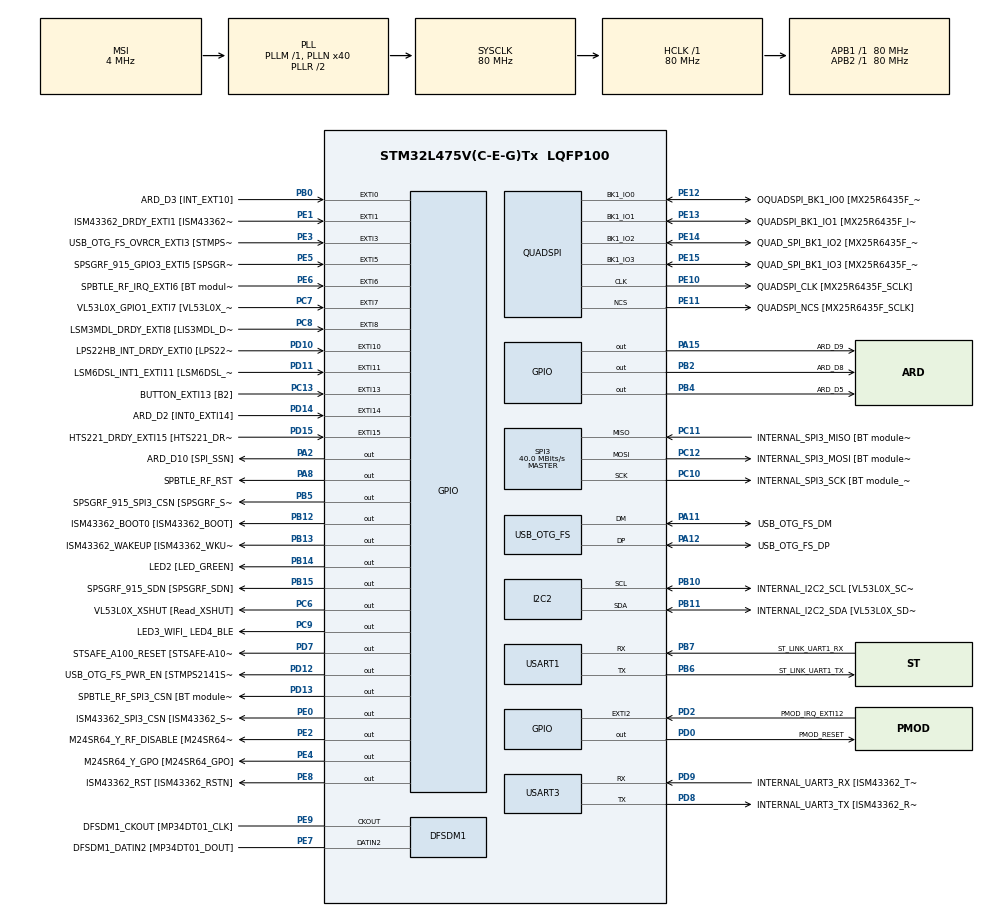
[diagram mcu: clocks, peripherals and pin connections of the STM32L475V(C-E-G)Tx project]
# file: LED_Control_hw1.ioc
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FREERTOS.BinarySemaphores01=button,Dynamic,NULL,Depleted;timer,Dynamic,NULL,Depleted
FREERTOS.Mutexes01=ledMutex,Dynamic,NULL,Available
FREERTOS.Queues01=buttonTime,16,uint16_t,0,Dynamic,NULL,NULL
FREERTOS.Tasks01=Task_1,24,128,StartTask_1,Default,NULL,Dynamic,NULL,NULL;Task_2,24,128,StartTask_2,Default,NULL,Dynamic,NULL,NULL
I2C2.Timing=0x10D19CE4
Mcu.Family=STM32L4
Mcu.Name=STM32L475V(C-E-G)Tx
Mcu.Package=LQFP100
NVIC.EXTI15_10_IRQn=true\:5\:0\:false\:false\:true\:true\:true\:true\:true
NVIC.EXTI9_5_IRQn=true\:5\:0\:false\:false\:true\:true\:true\:true\:true
NVIC.PriorityGroup=NVIC_PRIORITYGROUP_4
NVIC.TIM2_IRQn=true\:5\:0\:false\:false\:true\:true\:true\:true\:true
NVIC.TIM6_DAC_IRQn=true\:15\:0\:false\:false\:true\:false\:false\:true\:true
NVIC.TimeBase=TIM6_DAC_IRQn
NVIC.TimeBaseIP=TIM6
PA0.GPIO_Label=ARD_D1 [UART4_TX]
PA0.Signal=UART4_TX
PA1.GPIO_Label=ARD_D0 [UART4_RX]
PA1.Signal=UART4_RX
PA10.GPIO_Label=USB_OTG_FS_ID
PA10.Signal=USB_OTG_FS_ID
PA11.GPIO_Label=USB_OTG_FS_DM
PA11.Mode=Device_Only
PA11.Signal=USB_OTG_FS_DM
PA12.GPIO_Label=USB_OTG_FS_DP
PA12.Mode=Device_Only
PA12.Signal=USB_OTG_FS_DP
PA13\ (JTMS-SWDIO).GPIO_Label=SYS_JTMS_SWDIO
PA13\ (JTMS-SWDIO).Mode=Serial_Wire
PA13\ (JTMS-SWDIO).Signal=SYS_JTMS-SWDIO
PA14\ (JTCK-SWCLK).GPIO_Label=SYS_JTCK_SWCLK
PA14\ (JTCK-SWCLK).Mode=Serial_Wire
PA14\ (JTCK-SWCLK).Signal=SYS_JTCK-SWCLK
PA15\ (JTDI).GPIO_Label=ARD_D9
PA15\ (JTDI).Signal=GPIO_Output
PA2.GPIO_Label=ARD_D10 [SPI_SSN]
PA2.Signal=GPIO_Output
PA3.GPIO_Label=ARD_D4
PA3.Signal=S_TIM2_CH4
PA4.GPIO_Label=ARD_D7
PA4.Signal=ADCx_IN9
PA5.GPIO_Label=ARD_D13 [SPI1_SCK]
PA5.Signal=SPI1_SCK
PA6.GPIO_Label=ARD_D12 [SPI1_MISO]
PA6.Signal=SPI1_MISO
PA7.GPIO_Label=ARD_D11 [SPI1_MOSI]
PA7.Signal=SPI1_MOSI
PA8.GPIO_Label=SPBTLE_RF_RST
PA8.Signal=GPIO_Output
PA9.GPIO_Label=USB_OTG_FS_VBUS [STMPS2141STR_OUT]
PA9.Signal=USB_OTG_FS_VBUS
PB0.GPIO_Label=ARD_D3 [INT_EXT10]
PB0.Signal=GPXTI0
PB1.GPIO_Label=ARD_D6 [ADC1_IN6]
PB1.Signal=ADCx_IN16
PB10.GPIO_Label=INTERNAL_I2C2_SCL [VL53L0X_SCL]
PB10.GPIO_Pu=GPIO_PULLUP
PB10.Mode=I2C
PB10.Signal=I2C2_SCL
PB11.GPIO_Label=INTERNAL_I2C2_SDA [VL53L0X_SDA]
PB11.GPIO_Pu=GPIO_PULLUP
PB11.Mode=I2C
PB11.Signal=I2C2_SDA
PB12.GPIO_Label=ISM43362_BOOT0 [ISM43362_BOOT]
PB12.Signal=GPIO_Output
PB13.GPIO_Label=ISM43362_WAKEUP [ISM43362_WKUP]
PB13.Signal=GPIO_Output
PB14.GPIO_Label=LED2 [LED_GREEN]
PB14.Signal=GPIO_Output
PB15.GPIO_Label=SPSGRF_915_SDN [SPSGRF_SDN]
PB15.Signal=GPIO_Output
PB2.GPIO_Label=ARD_D8
PB2.Signal=GPIO_Output
PB3\ (JTDO-TRACESWO).GPIO_Label=SYS_JTD0_SWO
PB3\ (JTDO-TRACESWO).Signal=SYS_JTDO-SWO
PB4\ (NJTRST).GPIO_Label=ARD_D5
PB4\ (NJTRST).Signal=GPIO_Output
PB5.GPIO_Label=SPSGRF_915_SPI3_CSN [SPSGRF_SPI_CS]
PB5.PinState=GPIO_PIN_SET
PB5.Signal=GPIO_Output
PB6.GPIO_Label=ST_LINK_UART1_TX
PB6.Mode=Asynchronous
PB6.Signal=USART1_TX
PB7.GPIO_Label=ST_LINK_UART1_RX
PB7.Mode=Asynchronous
PB7.Signal=USART1_RX
PB8.GPIO_Label=ARD_D15 [I2C1_SCL]
PB8.Signal=I2C1_SCL
PB9.GPIO_Label=ARD_D14 [I2C1_SDA]
PB9.Signal=I2C1_SDA
PC0.GPIO_Label=ARD_A5 [ADC]
PC0.Signal=ADCx_IN1
PC1.GPIO_Label=ARD_A4 [ADC]
PC1.Signal=ADCx_IN2
PC10.GPIO_Label=INTERNAL_SPI3_SCK [BT module_SPI_SCLK] [ISM43362_SCK]
PC10.Mode=Full_Duplex_Master
PC10.Signal=SPI3_SCK
PC11.GPIO_Label=INTERNAL_SPI3_MISO [BT module_SPI_MISO] [ISM43362_MISO]
PC11.Mode=Full_Duplex_Master
PC11.Signal=SPI3_MISO
PC12.GPIO_Label=INTERNAL_SPI3_MOSI [BT module_SPI_MOSI] [ISM43362_MOSI]
PC12.Mode=Full_Duplex_Master
PC12.Signal=SPI3_MOSI
PC13.GPIO_Label=BUTTON_EXTI13 [B2]
PC13.GPIO_ModeDefaultEXTI=GPIO_MODE_IT_RISING_FALLING
PC13.Signal=GPXTI13
PC14-OSC32_IN\ (PC14).Mode=LSE-External-Oscillator
PC14-OSC32_IN\ (PC14).Signal=RCC_OSC32_IN
PC15-OSC32_OUT\ (PC15).Mode=LSE-External-Oscillator
PC15-OSC32_OUT\ (PC15).Signal=RCC_OSC32_OUT
PC2.GPIO_Label=ARD_A3 [ADC]
PC2.Signal=ADCx_IN3
PC3.GPIO_Label=ARD_A2 [ADC]
PC3.Signal=ADCx_IN4
PC4.GPIO_Label=ARD_A1 [ADC]
PC4.Signal=ADCx_IN13
PC5.GPIO_Label=ARD_A0 [ADC]
PC5.Signal=ADCx_IN14
PC6.GPIO_Label=VL53L0X_XSHUT [Read_XSHUT]
PC6.Signal=GPIO_Output
PC7.GPIO_Label=VL53L0X_GPIO1_EXTI7 [VL53L0X_GPIO1]
PC7.Signal=GPXTI7
PC8.GPIO_Label=LSM3MDL_DRDY_EXTI8 [LIS3MDL_DRDY]
PC8.Signal=GPXTI8
PC9.GPIO_Label=LED3_WIFI_ LED4_BLE
PC9.Signal=GPIO_Output
PD0.GPIO_Label=PMOD_RESET
PD0.Signal=GPIO_Output
PD1.GPIO_Label=PMOD_SPI2_SCK
PD1.Signal=SPI2_SCK
PD10.GPIO_Label=LPS22HB_INT_DRDY_EXTI0 [LPS22HB_INT_DRDY] 
PD10.Signal=GPXTI10
PD11.GPIO_Label=LSM6DSL_INT1_EXTI11 [LSM6DSL_INT1]
PD11.Signal=GPXTI11
PD12.GPIO_Label=USB_OTG_FS_PWR_EN [STMPS2141STR_EN]
PD12.Signal=GPIO_Output
PD13.GPIO_Label=SPBTLE_RF_SPI3_CSN [BT module_SPI_CS]
PD13.PinState=GPIO_PIN_SET
PD13.Signal=GPIO_Output
PD14.GPIO_Label=ARD_D2 [INT0_EXTI14]
PD14.Signal=GPXTI14
PD15.GPIO_Label=HTS221_DRDY_EXTI15 [HTS221_DRDY]
PD15.Signal=GPXTI15
PD2.GPIO_Label=PMOD_IRQ_EXTI12
PD2.Signal=GPXTI2
PD3.GPIO_Label=PMOD_UART2_CTS
PD3.Signal=USART2_CTS
PD4.GPIO_Label=PMOD_UART2_RTS
PD4.Signal=USART2_RTS
PD5.GPIO_Label=PMOD_UART2_TX
PD5.Signal=USART2_TX
PD6.GPIO_Label=PMOD_UART2_RX
PD6.Signal=USART2_RX
PD7.GPIO_Label=STSAFE_A100_RESET [STSAFE-A100_RESET]
PD7.Signal=GPIO_Output
PD8.GPIO_Label=INTERNAL_UART3_TX [ISM43362_RX]
PD8.Mode=Asynchronous
PD8.Signal=USART3_TX
PD9.GPIO_Label=INTERNAL_UART3_RX [ISM43362_TX]
PD9.Mode=Asynchronous
PD9.Signal=USART3_RX
PE0.GPIO_Label=ISM43362_SPI3_CSN [ISM43362_SSN]
PE0.PinState=GPIO_PIN_SET
PE0.Signal=GPIO_Output
PE1.GPIO_Label=ISM43362_DRDY_EXTI1 [ISM43362_DATARDY]
PE1.Signal=GPXTI1
PE10.GPIO_Label=QUADSPI_CLK [MX25R6435F_SCLK]
PE10.Mode=Single Bank
PE10.Signal=QUADSPI_CLK
PE11.GPIO_Label=QUADSPI_NCS [MX25R6435F_SCLK]
PE11.Mode=Single Bank
PE11.Signal=QUADSPI_NCS
PE12.GPIO_Label=OQUADSPI_BK1_IO0 [MX25R6435F_IO0]
PE12.Mode=Single Bank
PE12.Signal=QUADSPI_BK1_IO0
PE13.GPIO_Label=QUADSPI_BK1_IO1 [MX25R6435F_IO1]
PE13.Mode=Single Bank
PE13.Signal=QUADSPI_BK1_IO1
PE14.GPIO_Label=QUAD_SPI_BK1_IO2 [MX25R6435F_IO2]
PE14.Mode=Single Bank
PE14.Signal=QUADSPI_BK1_IO2
PE15.GPIO_Label=QUAD_SPI_BK1_IO3 [MX25R6435F_IO3]
PE15.Mode=Single Bank
PE15.Signal=QUADSPI_BK1_IO3
PE2.GPIO_Label=M24SR64_Y_RF_DISABLE [M24SR64_RFDIS]
PE2.Signal=GPIO_Output
PE3.GPIO_Label=USB_OTG_FS_OVRCR_EXTI3 [STMPS2141STR_FAULT]
PE3.Signal=GPXTI3
PE4.GPIO_Label=M24SR64_Y_GPO [M24SR64_GPO]
PE4.Signal=GPIO_Output
PE5.GPIO_Label=SPSGRF_915_GPIO3_EXTI5 [SPSGRF_GPIO_3]
PE5.Signal=GPXTI5
PE6.GPIO_Label=SPBTLE_RF_IRQ_EXTI6 [BT module_SPI_IRQ]
PE6.Signal=GPXTI6
PE7.GPIO_Label=DFSDM1_DATIN2 [MP34DT01_DOUT]
PE7.Signal=S_DATAIN2DFSDM1
PE8.GPIO_Label=ISM43362_RST [ISM43362_RSTN]
PE8.Signal=GPIO_Output
PE9.GPIO_Label=DFSDM1_CKOUT [MP34DT01_CLK]
PE9.Signal=S_CKOUTDFSDM1
ProjectManager.HeapSize=0x200
ProjectManager.StackSize=0x400
ProjectManager.TargetToolchain=CMake
QUADSPI.ClockPrescaler=2
QUADSPI.FifoThreshold=4
QUADSPI.FlashSize=23
QUADSPI.SampleShifting=QSPI_SAMPLE_SHIFTING_HALFCYCLE
RCC.ADCFreq_Value=48000000
RCC.AHBFreq_Value=80000000
RCC.APB1Freq_Value=80000000
RCC.APB1TimFreq_Value=80000000
RCC.APB2Freq_Value=80000000
RCC.APB2TimFreq_Value=80000000
RCC.CortexFreq_Value=80000000
RCC.HCLKFreq_Value=80000000
RCC.HSE_VALUE=8000000
RCC.HSI_VALUE=16000000
RCC.MSI_VALUE=4000000
RCC.PLLN=40
RCC.PLLSAI1N=24
RCC.SYSCLKFreq_VALUE=80000000
RCC.SYSCLKSource=RCC_SYSCLKSOURCE_PLLCLK
RCC.USBFreq_Value=48000000
RCC.VCOOutputFreq_Value=160000000
SH.ADCx_IN1.0=ADC1_IN1
SH.ADCx_IN13.0=ADC1_IN13
SH.ADCx_IN14.0=ADC1_IN14
SH.ADCx_IN16.0=ADC1_IN16
SH.ADCx_IN2.0=ADC1_IN2
SH.ADCx_IN3.0=ADC1_IN3
SH.ADCx_IN4.0=ADC1_IN4
SH.ADCx_IN9.0=ADC1_IN9
SH.S_CKOUTDFSDM1.0=DFSDM1_CKOUT,CKOUT
SH.S_CKOUTDFSDM1.1=DFSDM1_CKOUT,PDM_SPI_Input_from_ch12_and_Internal_Clock
SH.S_DATAIN2DFSDM1.0=DFSDM1_DATIN2,PDM_SPI_Input_from_ch12_and_Internal_Clock
SH.S_TIM2_CH4.0=TIM2_CH4
SPI3.CalculateBaudRate=40.0 MBits/s
SPI3.Direction=SPI_DIRECTION_2LINES
SPI3.Mode=SPI_MODE_MASTER
SPI3.VirtualType=VM_MASTER
TIM2.Period=99999
TIM2.Prescaler=7999
USART1.VirtualMode-Asynchronous=VM_ASYNC
USART3.VirtualMode-Asynchronous=VM_ASYNC
USB_OTG_FS.VirtualMode=Device_Only
VP_FREERTOS_VS_CMSIS_V2.Mode=CMSIS_V2
VP_SYS_VS_tim6.Mode=TIM6
VP_TIM2_VS_ClockSourceINT.Mode=Internal
board=B-L475E-IOT01A1

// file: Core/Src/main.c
/* USER CODE BEGIN Header */
/**
 ******************************************************************************
 * @file           : main.c
 * @brief          : Main program body
 ******************************************************************************
 * @attention
 *
 * Copyright (c) 2026 STMicroelectronics.
 * All rights reserved.
 *
 * This software is licensed under terms that can be found in the LICENSE file
 * in the root directory of this software component.
 * If no LICENSE file comes with this software, it is provided AS-IS.
 *
 ******************************************************************************
 */
/* USER CODE END Header */
#include "main.h"
#include "cmsis_os.h"
#include "cmsis_os2.h"
#include "stm32l4xx_hal_gpio.h"
#include <stdint.h>
#include <stdio.h>

DFSDM_Channel_HandleTypeDef hdfsdm1_channel1;

I2C_HandleTypeDef hi2c2;

QSPI_HandleTypeDef hqspi;

SPI_HandleTypeDef hspi3;

TIM_HandleTypeDef htim2;

UART_HandleTypeDef huart1;
UART_HandleTypeDef huart3;

PCD_HandleTypeDef hpcd_USB_OTG_FS;

/* Definitions for Task_1 */
osThreadId_t Task_1Handle;
const osThreadAttr_t Task_1_attributes = {
    .name = "Task_1",
    .stack_size = 128 * 4,
    .priority = (osPriority_t)osPriorityNormal,
};
/* Definitions for Task_2 */
osThreadId_t Task_2Handle;
const osThreadAttr_t Task_2_attributes = {
    .name = "Task_2",
    .stack_size = 128 * 4,
    .priority = (osPriority_t)osPriorityNormal,
};
/* Definitions for buttonTime */
osMessageQueueId_t buttonTimeHandle;
const osMessageQueueAttr_t buttonTime_attributes = {.name = "buttonTime"};
/* Definitions for ledMutex */
osMutexId_t ledMutexHandle;
const osMutexAttr_t ledMutex_attributes = {.name = "ledMutex"};
/* Definitions for button */
osSemaphoreId_t buttonHandle;
const osSemaphoreAttr_t button_attributes = {.name = "button"};
/* Definitions for timer */
osSemaphoreId_t timerHandle;
const osSemaphoreAttr_t timer_attributes = {.name = "timer"};

void SystemClock_Config(void);
static void MX_GPIO_Init(void);
static void MX_DFSDM1_Init(void);
static void MX_I2C2_Init(void);
static void MX_QUADSPI_Init(void);
static void MX_SPI3_Init(void);
static void MX_TIM2_Init(void);
static void MX_USART1_UART_Init(void);
static void MX_USART3_UART_Init(void);
static void MX_USB_OTG_FS_PCD_Init(void);
void StartTask_1(void *argument);
void StartTask_2(void *argument);

int main(void) {

  /* MCU Configuration--------------------------------------------------------*/

  /* Reset of all peripherals, Initializes the Flash interface and the Systick.
   */
  HAL_Init();

  /* Configure the system clock */
  SystemClock_Config();

  /* Initialize all configured peripherals */
  MX_GPIO_Init();
  MX_DFSDM1_Init();
  MX_I2C2_Init();
  MX_QUADSPI_Init();
  MX_SPI3_Init();
  MX_TIM2_Init();
  MX_USART1_UART_Init();
  MX_USART3_UART_Init();
  MX_USB_OTG_FS_PCD_Init();
  /* USER CODE BEGIN 2 */
  HAL_TIM_Base_Start_IT(&htim2);
  /* USER CODE END 2 */

  /* Init scheduler */
  osKernelInitialize();
  /* Create the mutex(es) */
  /* creation of ledMutex */
  ledMutexHandle = osMutexNew(&ledMutex_attributes);

  /* Create the semaphores(s) */
  /* creation of button */
  buttonHandle = osSemaphoreNew(1, 0, &button_attributes);

  /* creation of timer */
  timerHandle = osSemaphoreNew(1, 0, &timer_attributes);

  /* Create the queue(s) */
  /* creation of buttonTime */
  buttonTimeHandle =
      osMessageQueueNew(16, sizeof(uint16_t), &buttonTime_attributes);

  /* Create the thread(s) */
  /* creation of Task_1 */
  Task_1Handle = osThreadNew(StartTask_1, NULL, &Task_1_attributes);

  /* creation of Task_2 */
  Task_2Handle = osThreadNew(StartTask_2, NULL, &Task_2_attributes);

  /* Start scheduler */
  osKernelStart();

  /* We should never get here as control is now taken by the scheduler */

  /* Infinite loop */
  while (1) {

  }
}

void SystemClock_Config(void) {
  RCC_OscInitTypeDef RCC_OscInitStruct = {0};
  RCC_ClkInitTypeDef RCC_ClkInitStruct = {0};

  /** Configure the main internal regulator output voltage
   */
  if (HAL_PWREx_ControlVoltageScaling(PWR_REGULATOR_VOLTAGE_SCALE1) != HAL_OK) {
    Error_Handler();
  }

  /** Configure LSE Drive Capability
   */
  HAL_PWR_EnableBkUpAccess();
  __HAL_RCC_LSEDRIVE_CONFIG(RCC_LSEDRIVE_LOW);

  /** Initializes the RCC Oscillators according to the specified parameters
   * in the RCC_OscInitTypeDef structure.
   */
  RCC_OscInitStruct.OscillatorType =
      RCC_OSCILLATORTYPE_LSE | RCC_OSCILLATORTYPE_MSI;
  RCC_OscInitStruct.LSEState = RCC_LSE_ON;
  RCC_OscInitStruct.MSIState = RCC_MSI_ON;
  RCC_OscInitStruct.MSICalibrationValue = 0;
  RCC_OscInitStruct.MSIClockRange = RCC_MSIRANGE_6;
  RCC_OscInitStruct.PLL.PLLState = RCC_PLL_ON;
  RCC_OscInitStruct.PLL.PLLSource = RCC_PLLSOURCE_MSI;
  RCC_OscInitStruct.PLL.PLLM = 1;
  RCC_OscInitStruct.PLL.PLLN = 40;
  RCC_OscInitStruct.PLL.PLLP = RCC_PLLP_DIV7;
  RCC_OscInitStruct.PLL.PLLQ = RCC_PLLQ_DIV2;
  RCC_OscInitStruct.PLL.PLLR = RCC_PLLR_DIV2;
  if (HAL_RCC_OscConfig(&RCC_OscInitStruct) != HAL_OK) {
    Error_Handler();
  }

  /** Initializes the CPU, AHB and APB buses clocks
   */
  RCC_ClkInitStruct.ClockType = RCC_CLOCKTYPE_HCLK | RCC_CLOCKTYPE_SYSCLK |
                                RCC_CLOCKTYPE_PCLK1 | RCC_CLOCKTYPE_PCLK2;
  RCC_ClkInitStruct.SYSCLKSource = RCC_SYSCLKSOURCE_PLLCLK;
  RCC_ClkInitStruct.AHBCLKDivider = RCC_SYSCLK_DIV1;
  RCC_ClkInitStruct.APB1CLKDivider = RCC_HCLK_DIV1;
  RCC_ClkInitStruct.APB2CLKDivider = RCC_HCLK_DIV1;

  if (HAL_RCC_ClockConfig(&RCC_ClkInitStruct, FLASH_LATENCY_4) != HAL_OK) {
    Error_Handler();
  }

  /** Enable MSI Auto calibration
   */
  HAL_RCCEx_EnableMSIPLLMode();
}

static void MX_DFSDM1_Init(void) {

  hdfsdm1_channel1.Instance = DFSDM1_Channel1;
  hdfsdm1_channel1.Init.OutputClock.Activation = ENABLE;
  hdfsdm1_channel1.Init.OutputClock.Selection =
      DFSDM_CHANNEL_OUTPUT_CLOCK_SYSTEM;
  hdfsdm1_channel1.Init.OutputClock.Divider = 2;
  hdfsdm1_channel1.Init.Input.Multiplexer = DFSDM_CHANNEL_EXTERNAL_INPUTS;
  hdfsdm1_channel1.Init.Input.DataPacking = DFSDM_CHANNEL_STANDARD_MODE;
  hdfsdm1_channel1.Init.Input.Pins = DFSDM_CHANNEL_FOLLOWING_CHANNEL_PINS;
  hdfsdm1_channel1.Init.SerialInterface.Type = DFSDM_CHANNEL_SPI_RISING;
  hdfsdm1_channel1.Init.SerialInterface.SpiClock =
      DFSDM_CHANNEL_SPI_CLOCK_INTERNAL;
  hdfsdm1_channel1.Init.Awd.FilterOrder = DFSDM_CHANNEL_FASTSINC_ORDER;
  hdfsdm1_channel1.Init.Awd.Oversampling = 1;
  hdfsdm1_channel1.Init.Offset = 0;
  hdfsdm1_channel1.Init.RightBitShift = 0x00;
  if (HAL_DFSDM_ChannelInit(&hdfsdm1_channel1) != HAL_OK) {
    Error_Handler();
  }
}

static void MX_I2C2_Init(void) {

  hi2c2.Instance = I2C2;
  hi2c2.Init.Timing = 0x10D19CE4;
  hi2c2.Init.OwnAddress1 = 0;
  hi2c2.Init.AddressingMode = I2C_ADDRESSINGMODE_7BIT;
  hi2c2.Init.DualAddressMode = I2C_DUALADDRESS_DISABLE;
  hi2c2.Init.OwnAddress2 = 0;
  hi2c2.Init.OwnAddress2Masks = I2C_OA2_NOMASK;
  hi2c2.Init.GeneralCallMode = I2C_GENERALCALL_DISABLE;
  hi2c2.Init.NoStretchMode = I2C_NOSTRETCH_DISABLE;
  if (HAL_I2C_Init(&hi2c2) != HAL_OK) {
    Error_Handler();
  }

  /** Configure Analogue filter
   */
  if (HAL_I2CEx_ConfigAnalogFilter(&hi2c2, I2C_ANALOGFILTER_ENABLE) != HAL_OK) {
    Error_Handler();
  }

  /** Configure Digital filter
   */
  if (HAL_I2CEx_ConfigDigitalFilter(&hi2c2, 0) != HAL_OK) {
    Error_Handler();
  }
}

static void MX_QUADSPI_Init(void) {

  /* QUADSPI parameter configuration*/
  hqspi.Instance = QUADSPI;
  hqspi.Init.ClockPrescaler = 2;
  hqspi.Init.FifoThreshold = 4;
  hqspi.Init.SampleShifting = QSPI_SAMPLE_SHIFTING_HALFCYCLE;
  hqspi.Init.FlashSize = 23;
  hqspi.Init.ChipSelectHighTime = QSPI_CS_HIGH_TIME_1_CYCLE;
  hqspi.Init.ClockMode = QSPI_CLOCK_MODE_0;
  if (HAL_QSPI_Init(&hqspi) != HAL_OK) {
    Error_Handler();
  }
}

static void MX_SPI3_Init(void) {

  /* SPI3 parameter configuration*/
  hspi3.Instance = SPI3;
  hspi3.Init.Mode = SPI_MODE_MASTER;
  hspi3.Init.Direction = SPI_DIRECTION_2LINES;
  hspi3.Init.DataSize = SPI_DATASIZE_4BIT;
  hspi3.Init.CLKPolarity = SPI_POLARITY_LOW;
  hspi3.Init.CLKPhase = SPI_PHASE_1EDGE;
  hspi3.Init.NSS = SPI_NSS_SOFT;
  hspi3.Init.BaudRatePrescaler = SPI_BAUDRATEPRESCALER_2;
  hspi3.Init.FirstBit = SPI_FIRSTBIT_MSB;
  hspi3.Init.TIMode = SPI_TIMODE_DISABLE;
  hspi3.Init.CRCCalculation = SPI_CRCCALCULATION_DISABLE;
  hspi3.Init.CRCPolynomial = 7;
  hspi3.Init.CRCLength = SPI_CRC_LENGTH_DATASIZE;
  hspi3.Init.NSSPMode = SPI_NSS_PULSE_ENABLE;
  if (HAL_SPI_Init(&hspi3) != HAL_OK) {
    Error_Handler();
  }
}

static void MX_TIM2_Init(void) {

  TIM_ClockConfigTypeDef sClockSourceConfig = {0};
  TIM_MasterConfigTypeDef sMasterConfig = {0};

  htim2.Instance = TIM2;
  htim2.Init.Prescaler = 7999;
  htim2.Init.CounterMode = TIM_COUNTERMODE_UP;
  htim2.Init.Period = 99999;
  htim2.Init.ClockDivision = TIM_CLOCKDIVISION_DIV1;
  htim2.Init.AutoReloadPreload = TIM_AUTORELOAD_PRELOAD_DISABLE;
  if (HAL_TIM_Base_Init(&htim2) != HAL_OK) {
    Error_Handler();
  }
  sClockSourceConfig.ClockSource = TIM_CLOCKSOURCE_INTERNAL;
  if (HAL_TIM_ConfigClockSource(&htim2, &sClockSourceConfig) != HAL_OK) {
    Error_Handler();
  }
  sMasterConfig.MasterOutputTrigger = TIM_TRGO_RESET;
  sMasterConfig.MasterSlaveMode = TIM_MASTERSLAVEMODE_DISABLE;
  if (HAL_TIMEx_MasterConfigSynchronization(&htim2, &sMasterConfig) != HAL_OK) {
    Error_Handler();
  }
}

static void MX_USART1_UART_Init(void) {

  huart1.Instance = USART1;
  huart1.Init.BaudRate = 115200;
  huart1.Init.WordLength = UART_WORDLENGTH_8B;
  huart1.Init.StopBits = UART_STOPBITS_1;
  huart1.Init.Parity = UART_PARITY_NONE;
  huart1.Init.Mode = UART_MODE_TX_RX;
  huart1.Init.HwFlowCtl = UART_HWCONTROL_NONE;
  huart1.Init.OverSampling = UART_OVERSAMPLING_16;
  huart1.Init.OneBitSampling = UART_ONE_BIT_SAMPLE_DISABLE;
  huart1.AdvancedInit.AdvFeatureInit = UART_ADVFEATURE_NO_INIT;
  if (HAL_UART_Init(&huart1) != HAL_OK) {
    Error_Handler();
  }
}

static void MX_USART3_UART_Init(void) {

  huart3.Instance = USART3;
  huart3.Init.BaudRate = 115200;
  huart3.Init.WordLength = UART_WORDLENGTH_8B;
  huart3.Init.StopBits = UART_STOPBITS_1;
  huart3.Init.Parity = UART_PARITY_NONE;
  huart3.Init.Mode = UART_MODE_TX_RX;
  huart3.Init.HwFlowCtl = UART_HWCONTROL_NONE;
  huart3.Init.OverSampling = UART_OVERSAMPLING_16;
  huart3.Init.OneBitSampling = UART_ONE_BIT_SAMPLE_DISABLE;
  huart3.AdvancedInit.AdvFeatureInit = UART_ADVFEATURE_NO_INIT;
  if (HAL_UART_Init(&huart3) != HAL_OK) {
    Error_Handler();
  }
}

static void MX_USB_OTG_FS_PCD_Init(void) {

  hpcd_USB_OTG_FS.Instance = USB_OTG_FS;
  hpcd_USB_OTG_FS.Init.dev_endpoints = 6;
  hpcd_USB_OTG_FS.Init.speed = PCD_SPEED_FULL;
  hpcd_USB_OTG_FS.Init.phy_itface = PCD_PHY_EMBEDDED;
  hpcd_USB_OTG_FS.Init.Sof_enable = DISABLE;
  hpcd_USB_OTG_FS.Init.low_power_enable = DISABLE;
  hpcd_USB_OTG_FS.Init.lpm_enable = DISABLE;
  hpcd_USB_OTG_FS.Init.battery_charging_enable = DISABLE;
  hpcd_USB_OTG_FS.Init.use_dedicated_ep1 = DISABLE;
  hpcd_USB_OTG_FS.Init.vbus_sensing_enable = DISABLE;
  if (HAL_PCD_Init(&hpcd_USB_OTG_FS) != HAL_OK) {
    Error_Handler();
  }
}

static void MX_GPIO_Init(void) {
  GPIO_InitTypeDef GPIO_InitStruct = {0};

  /* GPIO Ports Clock Enable */
  __HAL_RCC_GPIOE_CLK_ENABLE();
  __HAL_RCC_GPIOC_CLK_ENABLE();
  __HAL_RCC_GPIOA_CLK_ENABLE();
  __HAL_RCC_GPIOB_CLK_ENABLE();
  __HAL_RCC_GPIOD_CLK_ENABLE();

  /*Configure GPIO pin Output Level */
  HAL_GPIO_WritePin(
      GPIOE, M24SR64_Y_RF_DISABLE_Pin | M24SR64_Y_GPO_Pin | ISM43362_RST_Pin,
      GPIO_PIN_RESET);

  /*Configure GPIO pin Output Level */
  HAL_GPIO_WritePin(GPIOA, ARD_D10_Pin | SPBTLE_RF_RST_Pin | ARD_D9_Pin,
                    GPIO_PIN_RESET);

  /*Configure GPIO pin Output Level */
  HAL_GPIO_WritePin(GPIOB,
                    ARD_D8_Pin | ISM43362_BOOT0_Pin | ISM43362_WAKEUP_Pin |
                        LED2_Pin | SPSGRF_915_SDN_Pin | ARD_D5_Pin,
                    GPIO_PIN_RESET);

  /*Configure GPIO pin Output Level */
  HAL_GPIO_WritePin(
      GPIOD, USB_OTG_FS_PWR_EN_Pin | PMOD_RESET_Pin | STSAFE_A100_RESET_Pin,
      GPIO_PIN_RESET);

  /*Configure GPIO pin Output Level */
  HAL_GPIO_WritePin(SPBTLE_RF_SPI3_CSN_GPIO_Port, SPBTLE_RF_SPI3_CSN_Pin,
                    GPIO_PIN_SET);

  /*Configure GPIO pin Output Level */
  HAL_GPIO_WritePin(GPIOC, VL53L0X_XSHUT_Pin | LED3_WIFI__LED4_BLE_Pin,
                    GPIO_PIN_RESET);

  /*Configure GPIO pin Output Level */
  HAL_GPIO_WritePin(SPSGRF_915_SPI3_CSN_GPIO_Port, SPSGRF_915_SPI3_CSN_Pin,
                    GPIO_PIN_SET);

  /*Configure GPIO pin Output Level */
  HAL_GPIO_WritePin(ISM43362_SPI3_CSN_GPIO_Port, ISM43362_SPI3_CSN_Pin,
                    GPIO_PIN_SET);

  /*Configure GPIO pins : M24SR64_Y_RF_DISABLE_Pin M24SR64_Y_GPO_Pin
   * ISM43362_RST_Pin ISM43362_SPI3_CSN_Pin */
  GPIO_InitStruct.Pin = M24SR64_Y_RF_DISABLE_Pin | M24SR64_Y_GPO_Pin |
                        ISM43362_RST_Pin | ISM43362_SPI3_CSN_Pin;
  GPIO_InitStruct.Mode = GPIO_MODE_OUTPUT_PP;
  GPIO_InitStruct.Pull = GPIO_NOPULL;
  GPIO_InitStruct.Speed = GPIO_SPEED_FREQ_LOW;
  HAL_GPIO_Init(GPIOE, &GPIO_InitStruct);

  /*Configure GPIO pins : USB_OTG_FS_OVRCR_EXTI3_Pin SPSGRF_915_GPIO3_EXTI5_Pin
   * SPBTLE_RF_IRQ_EXTI6_Pin ISM43362_DRDY_EXTI1_Pin */
  GPIO_InitStruct.Pin = USB_OTG_FS_OVRCR_EXTI3_Pin |
                        SPSGRF_915_GPIO3_EXTI5_Pin | SPBTLE_RF_IRQ_EXTI6_Pin |
                        ISM43362_DRDY_EXTI1_Pin;
  GPIO_InitStruct.Mode = GPIO_MODE_IT_RISING;
  GPIO_InitStruct.Pull = GPIO_NOPULL;
  HAL_GPIO_Init(GPIOE, &GPIO_InitStruct);

  /*Configure GPIO pin : BUTTON_EXTI13_Pin */
  GPIO_InitStruct.Pin = BUTTON_EXTI13_Pin;
  GPIO_InitStruct.Mode = GPIO_MODE_IT_RISING_FALLING;
  GPIO_InitStruct.Pull = GPIO_NOPULL;
  HAL_GPIO_Init(BUTTON_EXTI13_GPIO_Port, &GPIO_InitStruct);

  /*Configure GPIO pins : ARD_A5_Pin ARD_A4_Pin ARD_A3_Pin ARD_A2_Pin
                           ARD_A1_Pin ARD_A0_Pin */
  GPIO_InitStruct.Pin = ARD_A5_Pin | ARD_A4_Pin | ARD_A3_Pin | ARD_A2_Pin |
                        ARD_A1_Pin | ARD_A0_Pin;
  GPIO_InitStruct.Mode = GPIO_MODE_ANALOG_ADC_CONTROL;
  GPIO_InitStruct.Pull = GPIO_NOPULL;
  HAL_GPIO_Init(GPIOC, &GPIO_InitStruct);

  /*Configure GPIO pins : ARD_D1_Pin ARD_D0_Pin */
  GPIO_InitStruct.Pin = ARD_D1_Pin | ARD_D0_Pin;
  GPIO_InitStruct.Mode = GPIO_MODE_AF_PP;
  GPIO_InitStruct.Pull = GPIO_NOPULL;
  GPIO_InitStruct.Speed = GPIO_SPEED_FREQ_VERY_HIGH;
  GPIO_InitStruct.Alternate = GPIO_AF8_UART4;
  HAL_GPIO_Init(GPIOA, &GPIO_InitStruct);

  /*Configure GPIO pins : ARD_D10_Pin SPBTLE_RF_RST_Pin ARD_D9_Pin */
  GPIO_InitStruct.Pin = ARD_D10_Pin | SPBTLE_RF_RST_Pin | ARD_D9_Pin;
  GPIO_InitStruct.Mode = GPIO_MODE_OUTPUT_PP;
  GPIO_InitStruct.Pull = GPIO_NOPULL;
  GPIO_InitStruct.Speed = GPIO_SPEED_FREQ_LOW;
  HAL_GPIO_Init(GPIOA, &GPIO_InitStruct);

  /*Configure GPIO pin : ARD_D7_Pin */
  GPIO_InitStruct.Pin = ARD_D7_Pin;
  GPIO_InitStruct.Mode = GPIO_MODE_ANALOG_ADC_CONTROL;
  GPIO_InitStruct.Pull = GPIO_NOPULL;
  HAL_GPIO_Init(ARD_D7_GPIO_Port, &GPIO_InitStruct);

  /*Configure GPIO pins : ARD_D13_Pin ARD_D12_Pin ARD_D11_Pin */
  GPIO_InitStruct.Pin = ARD_D13_Pin | ARD_D12_Pin | ARD_D11_Pin;
  GPIO_InitStruct.Mode = GPIO_MODE_AF_PP;
  GPIO_InitStruct.Pull = GPIO_NOPULL;
  GPIO_InitStruct.Speed = GPIO_SPEED_FREQ_VERY_HIGH;
  GPIO_InitStruct.Alternate = GPIO_AF5_SPI1;
  HAL_GPIO_Init(GPIOA, &GPIO_InitStruct);

  /*Configure GPIO pin : ARD_D3_Pin */
  GPIO_InitStruct.Pin = ARD_D3_Pin;
  GPIO_InitStruct.Mode = GPIO_MODE_IT_RISING;
  GPIO_InitStruct.Pull = GPIO_NOPULL;
  HAL_GPIO_Init(ARD_D3_GPIO_Port, &GPIO_InitStruct);

  /*Configure GPIO pin : ARD_D6_Pin */
  GPIO_InitStruct.Pin = ARD_D6_Pin;
  GPIO_InitStruct.Mode = GPIO_MODE_ANALOG_ADC_CONTROL;
  GPIO_InitStruct.Pull = GPIO_NOPULL;
  HAL_GPIO_Init(ARD_D6_GPIO_Port, &GPIO_InitStruct);

  /*Configure GPIO pins : ARD_D8_Pin ISM43362_BOOT0_Pin ISM43362_WAKEUP_Pin
     LED2_Pin SPSGRF_915_SDN_Pin ARD_D5_Pin SPSGRF_915_SPI3_CSN_Pin */
  GPIO_InitStruct.Pin = ARD_D8_Pin | ISM43362_BOOT0_Pin | ISM43362_WAKEUP_Pin |
                        LED2_Pin | SPSGRF_915_SDN_Pin | ARD_D5_Pin |
                        SPSGRF_915_SPI3_CSN_Pin;
  GPIO_InitStruct.Mode = GPIO_MODE_OUTPUT_PP;
  GPIO_InitStruct.Pull = GPIO_NOPULL;
  GPIO_InitStruct.Speed = GPIO_SPEED_FREQ_LOW;
  HAL_GPIO_Init(GPIOB, &GPIO_InitStruct);

  /*Configure GPIO pins : LPS22HB_INT_DRDY_EXTI0_Pin LSM6DSL_INT1_EXTI11_Pin
     ARD_D2_Pin HTS221_DRDY_EXTI15_Pin PMOD_IRQ_EXTI12_Pin */
  GPIO_InitStruct.Pin = LPS22HB_INT_DRDY_EXTI0_Pin | LSM6DSL_INT1_EXTI11_Pin |
                        ARD_D2_Pin | HTS221_DRDY_EXTI15_Pin |
                        PMOD_IRQ_EXTI12_Pin;
  GPIO_InitStruct.Mode = GPIO_MODE_IT_RISING;
  GPIO_InitStruct.Pull = GPIO_NOPULL;
  HAL_GPIO_Init(GPIOD, &GPIO_InitStruct);

  /*Configure GPIO pins : USB_OTG_FS_PWR_EN_Pin SPBTLE_RF_SPI3_CSN_Pin
   * PMOD_RESET_Pin STSAFE_A100_RESET_Pin */
  GPIO_InitStruct.Pin = USB_OTG_FS_PWR_EN_Pin | SPBTLE_RF_SPI3_CSN_Pin |
                        PMOD_RESET_Pin | STSAFE_A100_RESET_Pin;
  GPIO_InitStruct.Mode = GPIO_MODE_OUTPUT_PP;
  GPIO_InitStruct.Pull = GPIO_NOPULL;
  GPIO_InitStruct.Speed = GPIO_SPEED_FREQ_LOW;
  HAL_GPIO_Init(GPIOD, &GPIO_InitStruct);

  /*Configure GPIO pins : VL53L0X_XSHUT_Pin LED3_WIFI__LED4_BLE_Pin */
  GPIO_InitStruct.Pin = VL53L0X_XSHUT_Pin | LED3_WIFI__LED4_BLE_Pin;
  GPIO_InitStruct.Mode = GPIO_MODE_OUTPUT_PP;
  GPIO_InitStruct.Pull = GPIO_NOPULL;
  GPIO_InitStruct.Speed = GPIO_SPEED_FREQ_LOW;
  HAL_GPIO_Init(GPIOC, &GPIO_InitStruct);

  /*Configure GPIO pins : VL53L0X_GPIO1_EXTI7_Pin LSM3MDL_DRDY_EXTI8_Pin */
  GPIO_InitStruct.Pin = VL53L0X_GPIO1_EXTI7_Pin | LSM3MDL_DRDY_EXTI8_Pin;
  GPIO_InitStruct.Mode = GPIO_MODE_IT_RISING;
  GPIO_InitStruct.Pull = GPIO_NOPULL;
  HAL_GPIO_Init(GPIOC, &GPIO_InitStruct);

  /*Configure GPIO pin : PMOD_SPI2_SCK_Pin */
  GPIO_InitStruct.Pin = PMOD_SPI2_SCK_Pin;
  GPIO_InitStruct.Mode = GPIO_MODE_AF_PP;
  GPIO_InitStruct.Pull = GPIO_NOPULL;
  GPIO_InitStruct.Speed = GPIO_SPEED_FREQ_VERY_HIGH;
  GPIO_InitStruct.Alternate = GPIO_AF5_SPI2;
  HAL_GPIO_Init(PMOD_SPI2_SCK_GPIO_Port, &GPIO_InitStruct);

  /*Configure GPIO pins : PMOD_UART2_CTS_Pin PMOD_UART2_RTS_Pin
   * PMOD_UART2_TX_Pin PMOD_UART2_RX_Pin */
  GPIO_InitStruct.Pin = PMOD_UART2_CTS_Pin | PMOD_UART2_RTS_Pin |
                        PMOD_UART2_TX_Pin | PMOD_UART2_RX_Pin;
  GPIO_InitStruct.Mode = GPIO_MODE_AF_PP;
  GPIO_InitStruct.Pull = GPIO_NOPULL;
  GPIO_InitStruct.Speed = GPIO_SPEED_FREQ_VERY_HIGH;
  GPIO_InitStruct.Alternate = GPIO_AF7_USART2;
  HAL_GPIO_Init(GPIOD, &GPIO_InitStruct);

  /*Configure GPIO pins : ARD_D15_Pin ARD_D14_Pin */
  GPIO_InitStruct.Pin = ARD_D15_Pin | ARD_D14_Pin;
  GPIO_InitStruct.Mode = GPIO_MODE_AF_OD;
  GPIO_InitStruct.Pull = GPIO_NOPULL;
  GPIO_InitStruct.Speed = GPIO_SPEED_FREQ_VERY_HIGH;
  GPIO_InitStruct.Alternate = GPIO_AF4_I2C1;
  HAL_GPIO_Init(GPIOB, &GPIO_InitStruct);

  /* EXTI interrupt init*/
  HAL_NVIC_SetPriority(EXTI9_5_IRQn, 5, 0);
  HAL_NVIC_EnableIRQ(EXTI9_5_IRQn);

  HAL_NVIC_SetPriority(EXTI15_10_IRQn, 5, 0);
  HAL_NVIC_EnableIRQ(EXTI15_10_IRQn);

}

/* USER CODE BEGIN 4 */

void HAL_GPIO_EXTI_Callback(uint16_t GPIO_Pin) {
  static uint32_t starttime = 0;
  if (GPIO_Pin == GPIO_PIN_13) {
    // osSemaphoreRelease(buttonHandle);
    if (HAL_GPIO_ReadPin(GPIOC, GPIO_PIN_13) == GPIO_PIN_RESET) {
      starttime = HAL_GetTick();
    }
    if (HAL_GPIO_ReadPin(GPIOC, GPIO_PIN_13) == GPIO_PIN_SET) {
      uint32_t stoptime = 0;
      stoptime = HAL_GetTick();
      uint32_t deltatime = 0;
      deltatime = stoptime - starttime;
      osMessageQueuePut(buttonTimeHandle, &deltatime, 0, 0);
    }
  } else {
    __NOP();
  }
}
/* USER CODE END 4 */

void StartTask_1(void *argument) {
  /* USER CODE BEGIN 5 */
  /* Infinite loop */
  for (;;) {
    // osSemaphoreAcquire(buttonHandle, osWaitForever);
    uint32_t deltatime = 0;
    osMessageQueueGet(buttonTimeHandle, &deltatime, 0, osWaitForever);
    osMutexAcquire(ledMutexHandle, osWaitForever);
    if (deltatime > 1000) {
      for (int i = 0; i < 50; i++) {
        HAL_GPIO_WritePin(GPIOB, LED2_Pin, GPIO_PIN_SET);
        osDelay(50);
        HAL_GPIO_WritePin(GPIOB, LED2_Pin, GPIO_PIN_RESET);
        osDelay(50);
      }
    } else {
      for (int i = 0; i < 5; i++) {
        HAL_GPIO_WritePin(GPIOB, LED2_Pin, GPIO_PIN_SET);
        osDelay(500);
        HAL_GPIO_WritePin(GPIOB, LED2_Pin, GPIO_PIN_RESET);
        osDelay(500);
      }
    }
    osMutexRelease(ledMutexHandle);
    osDelay(1);
  }
  /* USER CODE END 5 */
}

void StartTask_2(void *argument) {
  /* USER CODE BEGIN StartTask_2 */
  /* Infinite loop */
  for (;;) {
    osSemaphoreAcquire(timerHandle, osWaitForever);
    osMutexAcquire(ledMutexHandle, osWaitForever);
    for (int i = 0; i < 20; i++) {
      HAL_GPIO_WritePin(GPIOB, LED2_Pin, GPIO_PIN_SET);
      osDelay(50);
      HAL_GPIO_WritePin(GPIOB, LED2_Pin, GPIO_PIN_RESET);
      osDelay(50);
    }
    osMutexRelease(ledMutexHandle);
    osDelay(1);
  }
  /* USER CODE END StartTask_2 */
}

void HAL_TIM_PeriodElapsedCallback(TIM_HandleTypeDef *htim) {
  if (htim->Instance == TIM6) {
    HAL_IncTick();
  }
  /* USER CODE BEGIN Callback 1 */
  if (htim->Instance == TIM2) {
    osSemaphoreRelease(timerHandle);
  }
  /* USER CODE END Callback 1 */
}

void Error_Handler(void) {
  __disable_irq();
  while (1) {
  }
}
#ifdef USE_FULL_ASSERT
/**
 * @brief  Reports the name of the source file and the source line number
 *         where the assert_param error has occurred.
 * @param  file: pointer to the source file name
 * @param  line: assert_param error line source number
 * @retval None
 */
void assert_failed(uint8_t *file, uint32_t line) {
  /* USER CODE BEGIN 6 */
  /* User can add his own implementation to report the file name and line
     number, ex: printf("Wrong parameters value: file %s on line %d\r\n", file,
     line) */
  /* USER CODE END 6 */
}
#endif /* USE_FULL_ASSERT */
